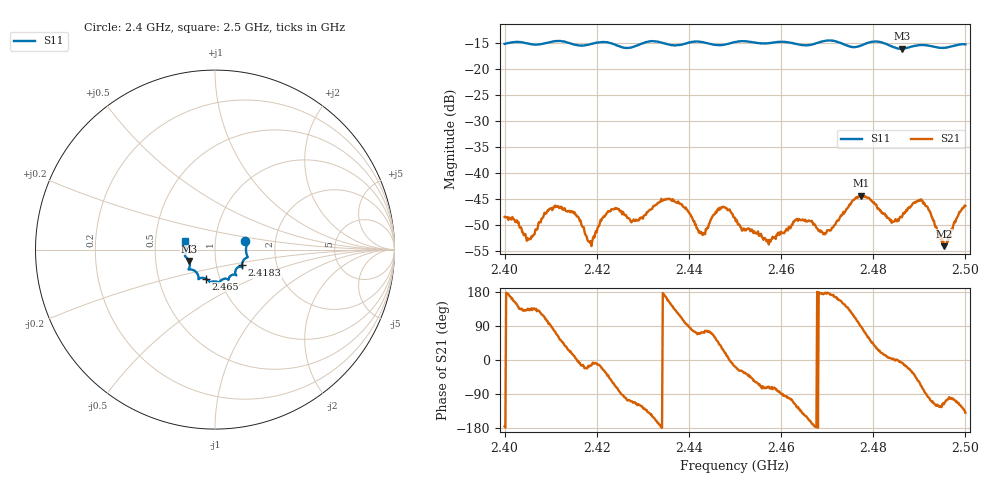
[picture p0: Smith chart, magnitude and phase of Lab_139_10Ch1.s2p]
# Hz S RI R 50
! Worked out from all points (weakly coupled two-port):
!   601 points, 2.4 GHz to 2.5 GHz, reference 50 ohm
!   highest |S21| = -44.28 dB at 2.4773 GHz (marker M1); lowest = -54.0 dB at 2.4953 GHz (marker M2)
!   lowest |S11| = -16.1 dB at 2.4862 GHz (marker M3), VSWR 1.37, Z = 37.1 - j4.8 ohm
!   |S11| at or under -10 dB: start of sweep to end of sweep
!   S12 and S22 are empty: the file has one direction only
!   S11 on the Smith chart (normalised r, x): 2.4 GHz: 1.40, +0.13; 2.4183 GHz: 1.33, -0.24; 2.465 GHz: 0.86, -0.29; 2.5 GHz: 0.71, +0.07
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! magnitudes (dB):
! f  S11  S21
! 2.4 GHz  -15.1  -48.4
! 2.4052 GHz  -15.1  -52.8
! 2.4112 GHz  -14.6  -46.5
! 2.4167 GHz  -15.5  -49.9
! 2.4183 GHz  -15.2  -53.1
! 2.423 GHz  -15.0  -47.3
! 2.4278 GHz  -15.7  -49.2
! 2.4333 GHz  -14.7  -45.6
! 2.4382 GHz  -15.3  -45.9
! 2.443 GHz  -14.8  -51.9
! 2.4468 GHz  -15.4  -46.9
! 2.45 GHz  -14.8  -48.6
! 2.4573 GHz  -15.0  -53.7
! 2.465 GHz  -15.4  -49.1
! 2.4667 GHz  -15.3  -49.2
! 2.4697 GHz  -14.5  -51.6
! 2.4773 GHz  -15.5  -44.3
! 2.4833 GHz  -15.3  -48.6
! 2.4862 GHz  -16.1  -48.5
! 2.4907 GHz  -15.3  -45.3
! 2.4953 GHz  -15.9  -54.0
! 2.5 GHz  -15.2  -46.3
